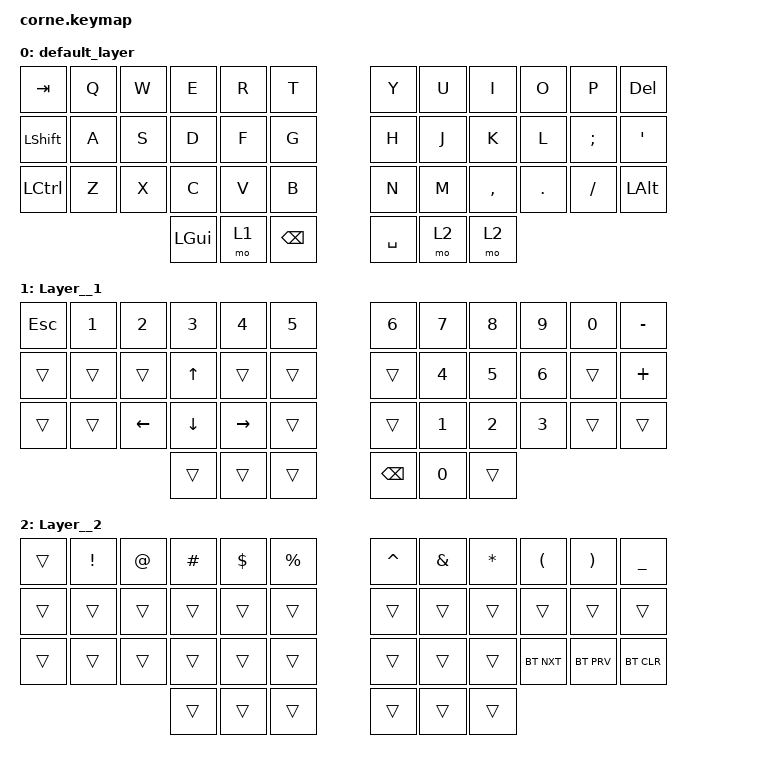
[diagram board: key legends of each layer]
/*
 * Copyright (c) 2020 The ZMK Contributors
 *
 * SPDX-License-Identifier: MIT
 */

#include <behaviors.dtsi>
#include <dt-bindings/zmk/keys.h>
#include <dt-bindings/zmk/bt.h>

/ {
    combos {
        compatible = "zmk,combos";

        Equals {
            bindings = <&kp EQUAL>;
            key-positions = <10 11>;
        };

        f1 {
            bindings = <&kp F1>;
            key-positions = <13 1>;
        };

        f2 {
            bindings = <&kp F2>;
            key-positions = <14 2>;
        };

        f3 {
            bindings = <&kp F3>;
            key-positions = <15 3>;
        };

        f4 {
            bindings = <&kp F4>;
            key-positions = <16 4>;
        };

        f5 {
            bindings = <&kp F5>;
            key-positions = <17 5>;
        };

        f6 {
            bindings = <&kp F6>;
            key-positions = <18 6>;
        };

        f7 {
            bindings = <&kp F7>;
            key-positions = <19 7>;
        };

        f8 {
            bindings = <&kp F8>;
            key-positions = <20 8>;
        };

        f9 {
            bindings = <&kp F9>;
            key-positions = <21 9>;
        };

        Esc {
            bindings = <&kp ESC>;
            key-positions = <0 1>;
        };

        Enter {
            bindings = <&kp ENTER>;
            key-positions = <38 39>;
        };
    };

    keymap {
        compatible = "zmk,keymap";

        default_layer {
            // -----------------------------------------------------------------------------------------
            // |  TAB |  Q  |  W  |  E  |  R  |  T  |   |  Y  |  U   |  I  |  O  |  P  | BKSP |
            // | CTRL |  A  |  S  |  D  |  F  |  G  |   |  H  |  J   |  K  |  L  |  ;  |  '   |
            // | SHFT |  Z  |  X  |  C  |  V  |  B  |   |  N  |  M   |  ,  |  .  |  /  | ESC  |
            //                    | GUI | LWR | SPC |   | ENT | RSE  | ALT |

            bindings = <
  &kp TAB  &kp Q  &kp W     &kp E  &kp R          &kp T        &kp Y  &kp U      &kp I    &kp O     &kp P    &kp DELETE
&kp LSHFT  &kp A  &kp S     &kp D  &kp F          &kp G        &kp H  &kp J      &kp K    &kp L  &kp SEMI       &kp SQT
&kp LCTRL  &kp Z  &kp X     &kp C  &kp V          &kp B        &kp N  &kp M  &kp COMMA  &kp DOT  &kp FSLH  &kp LEFT_ALT
                         &kp LGUI  &mo 1  &kp BACKSPACE    &kp SPACE  &mo 2      &mo 2
            >;
        };

        Layer__1 {
            bindings = <
&kp ESC  &kp NUMBER_1    &kp N2    &kp N3     &kp N4  &kp N5           &kp N6        &kp N7        &kp N8        &kp N9  &kp N0  &kp MINUS
 &trans        &trans    &trans    &kp UP     &trans  &trans           &trans  &kp NUMBER_4  &kp NUMBER_5  &kp NUMBER_6  &trans   &kp PLUS
 &trans        &trans  &kp LEFT  &kp DOWN  &kp RIGHT  &trans           &trans        &kp N1  &kp NUMBER_2  &kp NUMBER_3  &trans     &trans
                                   &trans     &trans  &trans    &kp BACKSPACE  &kp NUMBER_0        &trans
            >;
        };

        Layer__2 {
            bindings = <
&trans  &kp EXCL  &kp AT  &kp HASH  &kp DOLLAR  &kp PERCENT    &kp CARET  &kp AMPERSAND  &kp ASTERISK  &kp LEFT_PARENTHESIS  &kp RIGHT_PARENTHESIS   &kp UNDER
&trans    &trans  &trans    &trans      &trans       &trans       &trans         &trans        &trans                &trans                 &trans      &trans
&trans    &trans  &trans    &trans      &trans       &trans       &trans         &trans        &trans            &bt BT_NXT             &bt BT_PRV  &bt BT_CLR
                            &trans      &trans       &trans       &trans         &trans        &trans
            >;
        };
    };
};
